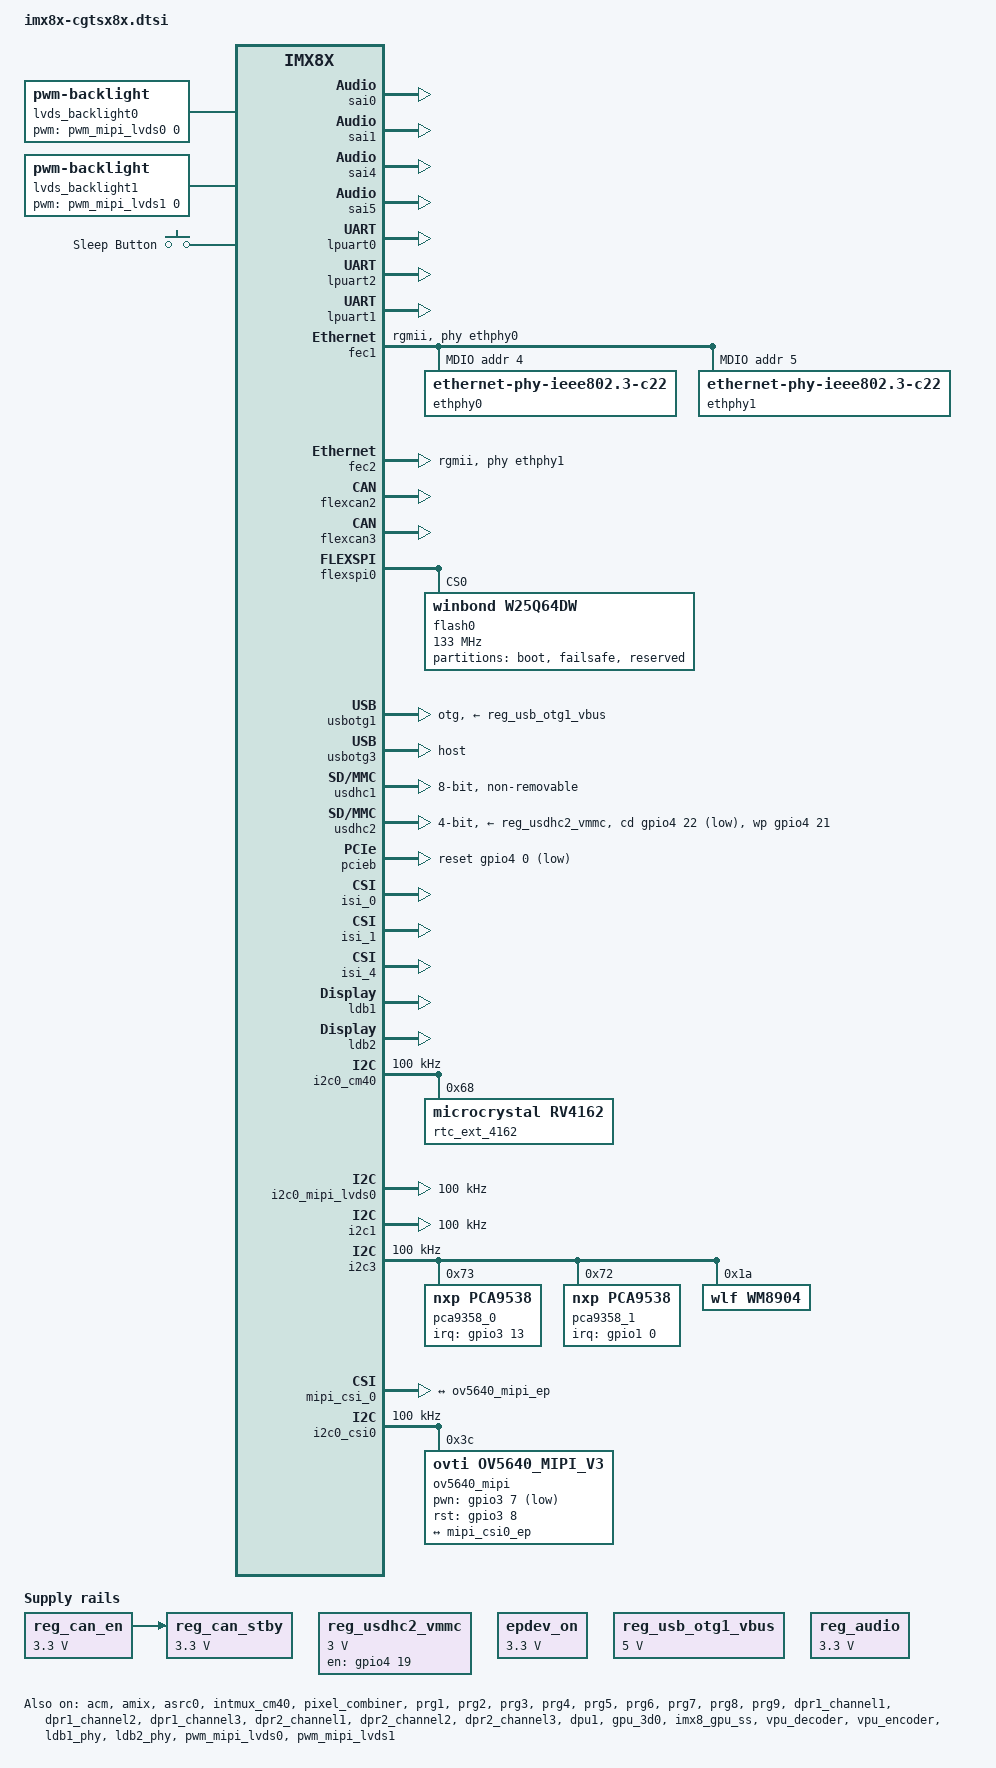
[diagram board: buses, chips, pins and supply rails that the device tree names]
/*
 * Copyright 2017-2018 NXP
 *
 * This program is free software; you can redistribute it and/or
 * modify it under the terms of the GNU General Public License
 * as published by the Free Software Foundation; either version 2
 * of the License, or (at your option) any later version.
 *
 * This program is distributed in the hope that it will be useful,
 * but WITHOUT ANY WARRANTY; without even the implied warranty of
 * MERCHANTABILITY or FITNESS FOR A PARTICULAR PURPOSE.  See the
 * GNU General Public License for more details.
 */

/ {
	chosen {
		bootargs = "console=ttyLP2,115200 earlycon=lpuart32,0x5a080000,115200";
		stdout-path = &lpuart2;
	};

	regulators {
		compatible = "simple-bus";
		#address-cells = <1>;
		#size-cells = <0>;

		reg_can_en: regulator-can-gen {
			compatible = "regulator-fixed";
			regulator-name = "can-en";
			regulator-min-microvolt = <3300000>;
			regulator-max-microvolt = <3300000>;
		//	gpio = <&pca6416 3 GPIO_ACTIVE_HIGH>;
			enable-active-high;
		};

		reg_can_stby: regulator-can-stby {
			compatible = "regulator-fixed";
			regulator-name = "can-stby";
			regulator-min-microvolt = <3300000>;
			regulator-max-microvolt = <3300000>;
		//	gpio = <&pca6416 5 GPIO_ACTIVE_HIGH>;
			enable-active-high;
			vin-supply = <&reg_can_en>;
		};

		reg_usdhc2_vmmc: usdhc2_vmmc {
			compatible = "regulator-fixed";
			regulator-name = "SD1_SPWR";
			regulator-min-microvolt = <3000000>;
			regulator-max-microvolt = <3000000>;
			gpio = <&gpio4 19 GPIO_ACTIVE_HIGH>;
			off-on-delay = <12000>;
			enable-active-high;
		};

		epdev_on: fixedregulator@100 {
			compatible = "regulator-fixed";
			regulator-min-microvolt = <3300000>;
			regulator-max-microvolt = <3300000>;
			regulator-name = "epdev_on";
		//	gpio = <&pca9557_a 0 GPIO_ACTIVE_HIGH>;
			enable-active-high;
		};

		reg_usb_otg1_vbus: regulator@0 {
			compatible = "regulator-fixed";
			reg = <0>;
			regulator-name = "usb_otg1_vbus";
			regulator-min-microvolt = <5000000>;
			regulator-max-microvolt = <5000000>;
		//	gpio = <&pca9557_b 2 GPIO_ACTIVE_HIGH>;
			enable-active-high;
		};

		reg_audio: fixedregulator@2 {
			compatible = "regulator-fixed";
			reg = <2>;
			regulator-name = "cs42888_supply";
			regulator-min-microvolt = <3300000>;
			regulator-max-microvolt = <3300000>;
			regulator-always-on;
		};
	};

	lvds_backlight0: lvds_backlight@0 {
		compatible = "pwm-backlight";
		pwms = <&pwm_mipi_lvds0 0 100000 0>;

		brightness-levels = < 0  1  2  3  4  5  6  7  8  9
				     10 11 12 13 14 15 16 17 18 19
				     20 21 22 23 24 25 26 27 28 29
				     30 31 32 33 34 35 36 37 38 39
				     40 41 42 43 44 45 46 47 48 49
				     50 51 52 53 54 55 56 57 58 59
				     60 61 62 63 64 65 66 67 68 69
				     70 71 72 73 74 75 76 77 78 79
				     80 81 82 83 84 85 86 87 88 89
				     90 91 92 93 94 95 96 97 98 99
				    100>;
		default-brightness-level = <80>;
	};

	lvds_backlight1: lvds_backlight@1 {
		compatible = "pwm-backlight";
		pwms = <&pwm_mipi_lvds1 0 100000 0>;

		brightness-levels = < 0  1  2  3  4  5  6  7  8  9
				     10 11 12 13 14 15 16 17 18 19
				     20 21 22 23 24 25 26 27 28 29
				     30 31 32 33 34 35 36 37 38 39
				     40 41 42 43 44 45 46 47 48 49
				     50 51 52 53 54 55 56 57 58 59
				     60 61 62 63 64 65 66 67 68 69
				     70 71 72 73 74 75 76 77 78 79
				     80 81 82 83 84 85 86 87 88 89
				     90 91 92 93 94 95 96 97 98 99
				    100>;
		default-brightness-level = <80>;
	};
/*
	beeper: pwm-beeper {
		compatible = "pwm-beeper";
		pwms = <&pwm3 0 100000 0>;
	};

	fan: pwm-fanctrl {
		compatible = "pwm-fan";
		pwms = <&pwm2 0 100000  0>;

		cooling-min-state = <0>;
		cooling-max-state = <2>;
		cooling-levels = <150 200 250>;
	};
*/
	sound0: sound@0 {
		compatible = "fsl,imx-audio-wm8904";
		model = "wm8904-audio";
		cpu-dai = <&sai0>;
		audio-codec = <&wm8904>;
		asrc-controller = <&asrc0>;
		codec-master;
		audio-routing =
			"Headphone Jack", "HPOUTL",
			"Headphone Jack", "HPOUTR",
			"Line Out Jack", "LINEOUTL",
			"Line Out Jack", "LINEOUTR",
			"IN1L", "Line In Jack",
			"IN1R", "Line In Jack",
			"IN2R", "Main MIC",
			"Playback", "CPU-Playback",
			"CPU-Capture", "Capture";
	};

	gpio-keys {
		compatible = "gpio-keys";
		pinctrl-names = "default";

		sleep {
			label = "Sleep Button";
			interrupt-parent = <&gpio1>;
			interrupts = <9 IRQ_TYPE_EDGE_FALLING>; //7 before
			linux,code = <KEY_SLEEP>;
		};
	};

};

&acm {
	status = "okay";
};

&amix {
	status = "okay";
};

&asrc0 {
	fsl,asrc-rate  = <48000>;
	status = "okay";
};

&sai0 {
	#sound-dai-cells = <0>;
	pinctrl-names = "default";
	pinctrl-0 = <&pinctrl_sai0>;
	status = "okay";

	assigned-clocks = <&clk IMX8QXP_AUD_PLL0_DIV>,
		  <&clk IMX8QXP_AUD_ACM_AUD_PLL_CLK0_DIV>,
		  <&clk IMX8QXP_AUD_ACM_AUD_REC_CLK0_DIV>,
		  <&clk IMX8QXP_AUD_MCLKOUT0>;
	assigned-clock-rates = <786432000>, <49152000>, <12288000>, <12288000>;
};

&sai1 {
	#sound-dai-cells = <0>;
	pinctrl-names = "default";
	pinctrl-0 = <&pinctrl_sai1>;
	status = "okay";

	assigned-clocks = <&clk IMX8QXP_AUD_PLL0_DIV>,
		  <&clk IMX8QXP_AUD_ACM_AUD_PLL_CLK0_DIV>,
		  <&clk IMX8QXP_AUD_ACM_AUD_REC_CLK0_DIV>,
		  <&clk IMX8QXP_AUD_MCLKOUT0>;
	assigned-clock-rates = <786432000>, <49152000>, <12288000>, <12288000>;
};

&sai4 {
	assigned-clocks = <&clk IMX8QXP_ACM_SAI4_MCLK_SEL>,
			<&clk IMX8QXP_AUD_PLL1_DIV>,
			<&clk IMX8QXP_AUD_ACM_AUD_PLL_CLK1_DIV>,
			<&clk IMX8QXP_AUD_ACM_AUD_REC_CLK1_DIV>,
			<&clk IMX8QXP_AUD_SAI_4_MCLK>;
	assigned-clock-parents = <&clk IMX8QXP_AUD_ACM_AUD_PLL_CLK1_CLK>;
	assigned-clock-rates = <0>, <786432000>, <98304000>, <12288000>, <98304000>;
	fsl,sai-asynchronous;
	fsl,txm-rxs;
	status = "okay";
};

&sai5 {
	assigned-clocks = <&clk IMX8QXP_ACM_SAI5_MCLK_SEL>,
			<&clk IMX8QXP_AUD_PLL1_DIV>,
			<&clk IMX8QXP_AUD_ACM_AUD_PLL_CLK1_DIV>,
			<&clk IMX8QXP_AUD_ACM_AUD_REC_CLK1_DIV>,
			<&clk IMX8QXP_AUD_SAI_5_MCLK>;
	assigned-clock-parents = <&clk IMX8QXP_AUD_ACM_AUD_PLL_CLK1_CLK>;
	assigned-clock-rates = <0>, <786432000>, <98304000>, <12288000>, <98304000>;
	fsl,sai-asynchronous;
	fsl,txm-rxs;
	status = "okay";
};

&iomuxc {
	pinctrl-names = "default";
	pinctrl-0 = <&pinctrl_hog>;

	imx8qxp-sx8x {
		pinctrl_hog: hoggrp {
			fsl,pins = <
				SC_P_SPI2_SDI_LSIO_GPIO1_IO02			0x00000021	/* GPIO 0 (450) */
				SC_P_MIPI_CSI0_GPIO0_01_LSIO_GPIO3_IO07	0x00000021	/* GPIO 1 (391) */
				SC_P_SPI2_SCK_LSIO_GPIO1_IO03			0x00000021	/* GPIO 2 (451)*/
				SC_P_MIPI_CSI0_GPIO0_00_LSIO_GPIO3_IO08	0x00000021	/* GPIO 3 (392) */
				SC_P_SPI2_SDO_LSIO_GPIO1_IO01		0x00000021	/* GPIO 4 (449) */
				SC_P_SPI0_SDI_LSIO_GPIO1_IO05		0x00000021	/* GPIO 5 (453) */
				SC_P_SPI0_CS0_LSIO_GPIO1_IO08		0x00000021	/* GPIO 6 (456) */
																/* GPIO 7 (210) */
																/* GPIO 8 (214) */
																/* GPIO 9 (215) */
																/* GPIO 10 (219) */
																/* GPIO 11 (220) */

				SC_P_ADC_IN4_LSIO_GPIO1_IO14		0x00000021  /* ESPI_ALERT0# */
				SC_P_ADC_IN5_LSIO_GPIO1_IO13		0x00000021  /* ESPI_ALERT1# */

				SC_P_ADC_IN0_LSIO_GPIO1_IO10		0x00000021	/* SMARC_BATLOW# */
				SC_P_ADC_IN1_LSIO_GPIO1_IO09		0x00000021	/* SMARC_SLEEP# */

				SC_P_MIPI_DSI1_GPIO0_01_LSIO_GPIO2_IO00				0x00000040	  /* INT ADV7533 or LVDS1_PPEN (416)*/

				SC_P_MIPI_DSI0_GPIO0_01_LSIO_GPIO1_IO28			0x00000021	/* LVDS0_PPEN (476) */
				SC_P_MCLK_IN0_LSIO_GPIO0_IO19			0x00000021	/* USB_2_OC# () */

				SC_P_MCLK_OUT0_ADMA_ACM_MCLK_OUT0	0xc6000040 /* MCLK for ext I2S codec */

				//--check SC_P_JTAG_TRST_B_SCU_WDOG0_WDOG_OUT
				SC_P_QSPI0A_DQS_LSIO_GPIO3_IO13		0x00000021 //(INT# PCA9538_0)
				SC_P_SPI2_CS0_LSIO_GPIO1_IO00		0x00000021 //(INT# PCA9538_1)

				SC_P_QSPI0A_SS1_B_LSIO_GPIO3_IO15	0x00000021 //(RST PCA9538) (399)

				SC_P_CSI_PCLK_LSIO_GPIO3_IO00		0x00000021 // GBE0_INT WoL
				SC_P_QSPI0B_DQS_LSIO_GPIO3_IO22		0x00000021 // GBE1_INT WoL
			>;
		};

	   pinctrl_csi0_lpi2c0: csi0lpi2c0grp {
			   fsl,pins = <
					   SC_P_MIPI_CSI0_I2C0_SCL_MIPI_CSI0_I2C0_SCL      0xc2000020
					   SC_P_MIPI_CSI0_I2C0_SDA_MIPI_CSI0_I2C0_SDA      0xc2000020
			   >;
	   };

		// Check if CTS and RTS are swapped
		/* Q7 edge connector*/
		/* SER 0 */
		pinctrl_lpuart0: lpuart0grp {
			fsl,pins = <
				SC_P_UART0_RX_ADMA_UART0_RX	0x06000020
				SC_P_UART0_TX_ADMA_UART0_TX	0x06000020
				SC_P_FLEXCAN0_RX_ADMA_UART0_RTS_B	0x06000020
				SC_P_FLEXCAN0_TX_ADMA_UART0_CTS_B	0x06000020
			>;
		};

		/*on module console 2*/
		pinctrl_lpuart2: lpuart2grp {
			fsl,pins = <
				SC_P_UART2_TX_ADMA_UART2_TX	0x06000020
				SC_P_UART2_RX_ADMA_UART2_RX	0x06000020
			>;
		};

		/* SER 1 */
		pinctrl_lpuart3: lpuart3grp {
			fsl,pins = <
				SC_P_ADC_IN3_M40_UART0_TX	0x06000020
				SC_P_ADC_IN2_M40_UART0_RX	0x06000020
			>;
		};

		/* SER 2*/
		pinctrl_lpuart4: lpuart4grp {
			fsl,pins = <
				SC_P_UART1_TX_ADMA_UART1_TX	0x06000020
				SC_P_UART1_RX_ADMA_UART1_RX	0x06000020
				SC_P_UART1_CTS_B_ADMA_UART1_CTS_B       0x06000020
				SC_P_UART1_RTS_B_ADMA_UART1_RTS_B       0x06000020
			>;
		};

		pinctrl_fec1: fec1grp {
			fsl,pins = <
				SC_P_ENET0_MDC_CONN_ENET0_MDC			0x06000020
				SC_P_ENET0_MDIO_CONN_ENET0_MDIO			0x06000020
				SC_P_ENET0_RGMII_TX_CTL_CONN_ENET0_RGMII_TX_CTL	0x00000061
				SC_P_ENET0_RGMII_TXC_CONN_ENET0_RGMII_TXC	0x00000061
				SC_P_ENET0_RGMII_TXD0_CONN_ENET0_RGMII_TXD0	0x00000061
				SC_P_ENET0_RGMII_TXD1_CONN_ENET0_RGMII_TXD1	0x00000061
				SC_P_ENET0_RGMII_TXD2_CONN_ENET0_RGMII_TXD2	0x00000061
				SC_P_ENET0_RGMII_TXD3_CONN_ENET0_RGMII_TXD3	0x00000061
				SC_P_ENET0_RGMII_RXC_CONN_ENET0_RGMII_RXC	0x00000061
				SC_P_ENET0_RGMII_RX_CTL_CONN_ENET0_RGMII_RX_CTL	0x00000061
				SC_P_ENET0_RGMII_RXD0_CONN_ENET0_RGMII_RXD0	0x00000061
				SC_P_ENET0_RGMII_RXD1_CONN_ENET0_RGMII_RXD1	0x00000061
				SC_P_ENET0_RGMII_RXD2_CONN_ENET0_RGMII_RXD2	0x00000061
				SC_P_ENET0_RGMII_RXD3_CONN_ENET0_RGMII_RXD3	0x00000061
			>;
		};

		pinctrl_fec2: fec2grp {
			fsl,pins = <
				SC_P_ESAI0_SCKR_CONN_ENET1_RGMII_TX_CTL		0x00000061
				SC_P_ESAI0_FSR_CONN_ENET1_RGMII_TXC		0x00000061
				SC_P_ESAI0_TX4_RX1_CONN_ENET1_RGMII_TXD0	0x00000061
				SC_P_ESAI0_TX5_RX0_CONN_ENET1_RGMII_TXD1	0x00000061
				SC_P_ESAI0_FST_CONN_ENET1_RGMII_TXD2		0x00000061
				SC_P_ESAI0_SCKT_CONN_ENET1_RGMII_TXD3		0x00000061
				SC_P_ESAI0_TX0_CONN_ENET1_RGMII_RXC		0x00000061
				SC_P_SPDIF0_TX_CONN_ENET1_RGMII_RX_CTL		0x00000061
				SC_P_SPDIF0_RX_CONN_ENET1_RGMII_RXD0		0x00000061
				SC_P_ESAI0_TX3_RX2_CONN_ENET1_RGMII_RXD1	0x00000061
				SC_P_ESAI0_TX2_RX3_CONN_ENET1_RGMII_RXD2	0x00000061
				SC_P_ESAI0_TX1_CONN_ENET1_RGMII_RXD3		0x00000061
			>;
		};

		pinctrl_flexcan2: flexcan2grp {
			fsl,pins = <
				SC_P_FLEXCAN1_TX_ADMA_FLEXCAN1_TX		0x21
				SC_P_FLEXCAN1_RX_ADMA_FLEXCAN1_RX		0x21
			>;
		};

		pinctrl_flexcan3: flexcan3grp {
			fsl,pins = <
				SC_P_FLEXCAN2_TX_ADMA_FLEXCAN2_TX		0x21
				SC_P_FLEXCAN2_RX_ADMA_FLEXCAN2_RX		0x21
			>;
		};

//gal tbd: qspi0B pins

		pinctrl_flexspi0: flexspi0grp {
			fsl,pins = <
				SC_P_QSPI0A_DATA0_LSIO_QSPI0A_DATA0	0x06000021
				SC_P_QSPI0A_DATA1_LSIO_QSPI0A_DATA1	0x06000021
				SC_P_QSPI0A_DATA2_LSIO_QSPI0A_DATA2	0x06000021
				SC_P_QSPI0A_DATA3_LSIO_QSPI0A_DATA3	0x06000021
				//--- SC_P_QSPI0A_DQS_LSIO_QSPI0A_DQS		0x06000021
				SC_P_QSPI0A_SS0_B_LSIO_QSPI0A_SS0_B	0x06000021
				//--- SC_P_QSPI0A_SS1_B_LSIO_QSPI0A_SS1_B	0x06000021
				SC_P_QSPI0A_SCLK_LSIO_QSPI0A_SCLK	0x06000021
				SC_P_QSPI0B_SCLK_LSIO_QSPI0B_SCLK	0x06000021
				SC_P_QSPI0B_DATA0_LSIO_QSPI0B_DATA0	0x06000021
				SC_P_QSPI0B_DATA1_LSIO_QSPI0B_DATA1	0x06000021
				SC_P_QSPI0B_DATA2_LSIO_QSPI0B_DATA2	0x06000021
				SC_P_QSPI0B_DATA3_LSIO_QSPI0B_DATA3	0x06000021
				SC_P_QSPI0B_SS0_B_LSIO_QSPI0B_SS0_B	0x06000021
				SC_P_QSPI0B_SS1_B_LSIO_QSPI0B_SS1_B	0x06000021
			>;
		};

		pinctrl_i2c0_mipi_lvds0: mipi_lvds0_i2c0_grp {
			fsl,pins = <
				SC_P_MIPI_DSI0_I2C0_SCL_MIPI_DSI0_I2C0_SCL 0xc600004c
				SC_P_MIPI_DSI0_I2C0_SDA_MIPI_DSI0_I2C0_SDA 0xc600004c
			>;
		};

		pinctrl_i2c0_mipi_lvds1: mipi_lvds1_i2c0_grp {
			fsl,pins = <
				SC_P_MIPI_DSI1_I2C0_SCL_MIPI_DSI1_I2C0_SCL 0xc6000020
				SC_P_MIPI_DSI1_I2C0_SDA_MIPI_DSI1_I2C0_SDA 0xc6000020
			>;
		};

		/* I2C_PM */
		pinctrl_lpi2c1: lpi1cgrp {
			fsl,pins = <
				SC_P_USB_SS3_TC1_ADMA_I2C1_SCL	0xc600004c
				SC_P_USB_SS3_TC3_ADMA_I2C1_SDA	0xc600004c
			>;
		};

		/* I2C_GPT */
		pinctrl_lpi2c3: lpi3cgrp {
			fsl,pins = <
				SC_P_CSI_EN_ADMA_I2C3_SCL	0xc600004c
				SC_P_CSI_RESET_ADMA_I2C3_SDA	0xc600004c
			>;
		};

		pinctrl_usdhc1: usdhc1grp {
			fsl,pins = <
				SC_P_EMMC0_CLK_CONN_EMMC0_CLK		0x06000041
				SC_P_EMMC0_CMD_CONN_EMMC0_CMD		0x00000021
				SC_P_EMMC0_DATA0_CONN_EMMC0_DATA0	0x00000021
				SC_P_EMMC0_DATA1_CONN_EMMC0_DATA1	0x00000021
				SC_P_EMMC0_DATA2_CONN_EMMC0_DATA2	0x00000021
				SC_P_EMMC0_DATA3_CONN_EMMC0_DATA3	0x00000021
				SC_P_EMMC0_DATA4_CONN_EMMC0_DATA4	0x00000021
				SC_P_EMMC0_DATA5_CONN_EMMC0_DATA5	0x00000021
				SC_P_EMMC0_DATA6_CONN_EMMC0_DATA6	0x00000021
				SC_P_EMMC0_DATA7_CONN_EMMC0_DATA7	0x00000021
				SC_P_EMMC0_STROBE_CONN_EMMC0_STROBE	0x00000041
			>;
		};

		pinctrl_usdhc1_100mhz: usdhc1grp100mhz {
			fsl,pins = <
				SC_P_EMMC0_CLK_CONN_EMMC0_CLK		0x06000040
				SC_P_EMMC0_CMD_CONN_EMMC0_CMD		0x00000020
				SC_P_EMMC0_DATA0_CONN_EMMC0_DATA0	0x00000020
				SC_P_EMMC0_DATA1_CONN_EMMC0_DATA1	0x00000020
				SC_P_EMMC0_DATA2_CONN_EMMC0_DATA2	0x00000020
				SC_P_EMMC0_DATA3_CONN_EMMC0_DATA3	0x00000020
				SC_P_EMMC0_DATA4_CONN_EMMC0_DATA4	0x00000020
				SC_P_EMMC0_DATA5_CONN_EMMC0_DATA5	0x00000020
				SC_P_EMMC0_DATA6_CONN_EMMC0_DATA6	0x00000020
				SC_P_EMMC0_DATA7_CONN_EMMC0_DATA7	0x00000020
				SC_P_EMMC0_STROBE_CONN_EMMC0_STROBE	0x00000040
			>;
		};

		pinctrl_usdhc1_200mhz: usdhc1grp200mhz {
			fsl,pins = <
				SC_P_EMMC0_CLK_CONN_EMMC0_CLK		0x06000040
				SC_P_EMMC0_CMD_CONN_EMMC0_CMD		0x00000020
				SC_P_EMMC0_DATA0_CONN_EMMC0_DATA0	0x00000020
				SC_P_EMMC0_DATA1_CONN_EMMC0_DATA1	0x00000020
				SC_P_EMMC0_DATA2_CONN_EMMC0_DATA2	0x00000020
				SC_P_EMMC0_DATA3_CONN_EMMC0_DATA3	0x00000020
				SC_P_EMMC0_DATA4_CONN_EMMC0_DATA4	0x00000020
				SC_P_EMMC0_DATA5_CONN_EMMC0_DATA5	0x00000020
				SC_P_EMMC0_DATA6_CONN_EMMC0_DATA6	0x00000020
				SC_P_EMMC0_DATA7_CONN_EMMC0_DATA7	0x00000020
				SC_P_EMMC0_STROBE_CONN_EMMC0_STROBE	0x00000040
			>;
		};

		pinctrl_usdhc2_gpio: usdhc2gpiogrp {
			fsl,pins = <
				SC_P_USDHC1_RESET_B_LSIO_GPIO4_IO19	0x00000021
				SC_P_USDHC1_WP_LSIO_GPIO4_IO21		0x00000021
				SC_P_USDHC1_CD_B_LSIO_GPIO4_IO22	0x00000021
			>;
		};

		pinctrl_usdhc2: usdhc2grp {
			fsl,pins = <
				SC_P_USDHC1_CLK_CONN_USDHC1_CLK		0x06000041
				SC_P_USDHC1_CMD_CONN_USDHC1_CMD		0x00000021
				SC_P_USDHC1_DATA0_CONN_USDHC1_DATA0	0x00000021
				SC_P_USDHC1_DATA1_CONN_USDHC1_DATA1	0x00000021
				SC_P_USDHC1_DATA2_CONN_USDHC1_DATA2	0x00000021
				SC_P_USDHC1_DATA3_CONN_USDHC1_DATA3	0x00000021
				SC_P_USDHC1_VSELECT_CONN_USDHC1_VSELECT	0x00000021
			>;
		};

		pinctrl_usdhc2_100mhz: usdhc2grp100mhz {
			fsl,pins = <
				SC_P_USDHC1_CLK_CONN_USDHC1_CLK		0x06000040
				SC_P_USDHC1_CMD_CONN_USDHC1_CMD		0x00000020
				SC_P_USDHC1_DATA0_CONN_USDHC1_DATA0	0x00000020
				SC_P_USDHC1_DATA1_CONN_USDHC1_DATA1	0x00000020
				SC_P_USDHC1_DATA2_CONN_USDHC1_DATA2	0x00000020
				SC_P_USDHC1_DATA3_CONN_USDHC1_DATA3	0x00000020
				SC_P_USDHC1_VSELECT_CONN_USDHC1_VSELECT	0x00000020
			>;
		};

		pinctrl_usdhc2_200mhz: usdhc2grp200mhz {
			fsl,pins = <
				SC_P_USDHC1_CLK_CONN_USDHC1_CLK		0x06000040
				SC_P_USDHC1_CMD_CONN_USDHC1_CMD		0x00000020
				SC_P_USDHC1_DATA0_CONN_USDHC1_DATA0	0x00000020
				SC_P_USDHC1_DATA1_CONN_USDHC1_DATA1	0x00000020
				SC_P_USDHC1_DATA2_CONN_USDHC1_DATA2	0x00000020
				SC_P_USDHC1_DATA3_CONN_USDHC1_DATA3	0x00000020
				SC_P_USDHC1_VSELECT_CONN_USDHC1_VSELECT	0x00000020
			>;
		};

		pinctrl_pcieb: pcieagrp{
			fsl,pins = <
				SC_P_PCIE_CTRL0_PERST_B_LSIO_GPIO4_IO00		0x06000021
				SC_P_PCIE_CTRL0_CLKREQ_B_LSIO_GPIO4_IO01	0x06000021
				SC_P_PCIE_CTRL0_WAKE_B_LSIO_GPIO4_IO02		0x04000021
			>;
		};

		pinctrl_mipi_csi0: mipicsi0grp{
			fsl,pins = <
				SC_P_MIPI_CSI0_MCLK_OUT_MIPI_CSI0_ACM_MCLK_OUT	0xC0000041
			>;
		};

		pinctrl_lpi2c0: i2c0grp{
			fsl,pins = <
				SC_P_SPI0_SCK_M40_I2C0_SCL			0xc600004c
				SC_P_SPI0_SDO_M40_I2C0_SDA			0xc600004c
			>;
		};

		pinctrl_pwm_mipi_lvds0: mipi0pwm0grp{
			fsl,pins = <
				SC_P_MIPI_DSI0_GPIO0_00_MIPI_DSI0_PWM0_OUT	0x00000020
			>;
		};

		pinctrl_pwm_mipi_lvds1: mipi1pwm0grp{
                        fsl,pins = <
                                SC_P_MIPI_DSI1_GPIO0_00_MIPI_DSI1_PWM0_OUT      0x00000020
                        >;
                };

		pinctrl_usbotg1: usbotg1 {
				fsl,pins = <
						SC_P_USB_SS3_TC0_CONN_USB_OTG1_PWR		0x00000021
						SC_P_USB_SS3_TC2_CONN_USB_OTG1_OC		0x00000021
				>;
		};

		pinctrl_sai0: sai0grp {
			fsl,pins = <
				SC_P_SAI0_RXD_ADMA_SAI0_RXD		0x06000040
				SC_P_SAI0_TXD_ADMA_SAI0_TXD		0x06000040
				SC_P_SAI0_TXC_ADMA_SAI0_TXC		0x06000040
				SC_P_SAI0_TXFS_ADMA_SAI0_TXFS	0x06000040
			>;
		};

		pinctrl_sai1: sai1grp {
			fsl,pins = <
				SC_P_SAI1_RXD_ADMA_SAI1_RXD		0x06000040
				SC_P_SAI1_RXC_ADMA_SAI1_TXC		0x06000040
				SC_P_SAI1_RXFS_ADMA_SAI1_TXFS	0x06000040
				SC_P_SPI0_CS1_ADMA_SAI1_TXD		0x06000040
			>;
		};
	};
};

&pd_dma_lpuart0 {
	debug_console;
};

/* ttyLP0: SER0*/
&lpuart0 {
	pinctrl-names = "default";
	pinctrl-0 = <&pinctrl_lpuart0>;
	status = "okay";
};

/* ttyLP2: Serial console */
&lpuart2 {
	pinctrl-names = "default";
	pinctrl-0 = <&pinctrl_lpuart2>;
	status = "okay";
};

&lpuart3 {
	pinctrl-names = "default";
	pinctrl-0 = <&pinctrl_lpuart3>;
	status = "disabled";
};

/* ttyLP1: SER2*/
&lpuart1 {
	pinctrl-names = "default";
	pinctrl-0 = <&pinctrl_lpuart4>;
	status = "okay";
};

&fec1 {
	pinctrl-names = "default";
	pinctrl-0 = <&pinctrl_fec1>;
	phy-mode = "rgmii";
	phy-handle = <&ethphy0>;
	fsl,magic-packet;
	fsl,rgmii_txc_dly;
	fsl,rgmii_rxc_dly;
//	phy-reset-gpios  = <&pca9358_0 0 GPIO_ACTIVE_LOW>; // gpio216
	status = "okay";

	mdio {
		#address-cells = <1>;
		#size-cells = <0>;

		ethphy0: ethernet-phy@0 {
			compatible = "ethernet-phy-ieee802.3-c22";
			reg = <4>;
			at803x,eee-disabled;
			at803x,vddio-1p8v;
		};

		ethphy1: ethernet-phy@1 {
			compatible = "ethernet-phy-ieee802.3-c22";
			reg = <5>;
			at803x,eee-disabled;
			at803x,vddio-1p8v;
		};
	};
};

&fec2 {
	pinctrl-names = "default";
	pinctrl-0 = <&pinctrl_fec2>;
	phy-mode = "rgmii";
	phy-handle = <&ethphy1>;
	fsl,magic-packet;
	fsl,rgmii_txc_dly;
	fsl,rgmii_rxc_dly;
//	phy-reset-gpios  = <&pca9358_0 1 GPIO_ACTIVE_LOW>; // gpio217
	status = "okay";
};

&flexcan2 {
	pinctrl-names = "default";
	pinctrl-0 = <&pinctrl_flexcan2>;
	status = "okay";
	/* To disable CAN FD mode support, uncomment following line */
	//disable-fd-mode;
};

&flexcan3 {
	pinctrl-names = "default";
	pinctrl-0 = <&pinctrl_flexcan3>;
	status = "okay";
	/* To disable CAN FD mode support, uncomment following line */
	//disable-fd-mode;
};

&flexspi0 {
	pinctrl-names = "default";
	pinctrl-0 = <&pinctrl_flexspi0>;
	status = "okay";

	flash0: w25q64dw@0 {
        #address-cells = <1>;
        #size-cells = <1>;
        compatible = "winbond,w25q64dw", "jedec,spi-nor";
        spi-max-frequency = <133000000>;
        reg = <0>;
		spi-nor,quad-read;

		partition@0 {
			label = "boot";
			reg = <0x0000000 0x400000>;
		};

		partition@400000 {
			label = "failsafe";
			reg = <0x400000 0x3e0000>;
		};

		partition@7e0000 {
			label = "reserved";
			reg = <0x7e0000 0x20000>;
			read-only;
		};
    };
};

&pd_cm40_intmux {
	early_power_on;
};

&intmux_cm40 {
	status = "okay";
};

&usbotg1 {
	dr_mode = "otg";
	pinctrl-names = "default";
	pinctrl-0 = <&pinctrl_usbotg1>;
	vbus-supply = <&reg_usb_otg1_vbus>;
	srp-disable;
	hnp-disable;
	adp-disable;
	power-polarity-active-high;
	disable-over-current;
	status = "okay";
};

&usbotg3 {
	dr_mode = "host";
	status = "okay";
};

&usdhc1 {
	pinctrl-names = "default", "state_100mhz", "state_200mhz";
	pinctrl-0 = <&pinctrl_usdhc1>;
	pinctrl-1 = <&pinctrl_usdhc1_100mhz>;
	pinctrl-2 = <&pinctrl_usdhc1_200mhz>;
	bus-width = <8>;
	non-removable;
	status = "okay";
};

&usdhc2 {
	pinctrl-names = "default", "state_100mhz", "state_200mhz";
	pinctrl-0 = <&pinctrl_usdhc2>, <&pinctrl_usdhc2_gpio>;
	pinctrl-1 = <&pinctrl_usdhc2_100mhz>, <&pinctrl_usdhc2_gpio>;
	pinctrl-2 = <&pinctrl_usdhc2_200mhz>, <&pinctrl_usdhc2_gpio>;
	bus-width = <4>;
	cd-gpios = <&gpio4 22 GPIO_ACTIVE_LOW>;
	wp-gpios = <&gpio4 21 GPIO_ACTIVE_HIGH>;
	vmmc-supply = <&reg_usdhc2_vmmc>;
	no-1-8-v;
	status = "okay";
};

&pcieb{
	ext_osc = <1>;
	pinctrl-names = "default";
	pinctrl-0 = <&pinctrl_pcieb>;
	clkreq-gpio = <&gpio4 1 GPIO_ACTIVE_LOW>;
	reset-gpio = <&gpio4 0 GPIO_ACTIVE_LOW>;
	epdev_on-supply = <&epdev_on>;
	status = "okay";
};

&pixel_combiner {
	status = "okay";
};
&prg1 {
	status = "okay";
};

&prg2 {
	status = "okay";
};

&prg3 {
	status = "okay";
};

&prg4 {
	status = "okay";
};

&prg5 {
	status = "okay";
};

&prg6 {
	status = "okay";
};

&prg7 {
	status = "okay";
};

&prg8 {
	status = "okay";
};

&prg9 {
	status = "okay";
};

&dpr1_channel1 {
	status = "okay";
};

&dpr1_channel2 {
	status = "okay";
};

&dpr1_channel3 {
	status = "okay";
};

&dpr2_channel1 {
	status = "okay";
};

&dpr2_channel2 {
	status = "okay";
};

&dpr2_channel3 {
	status = "okay";
};

&dpu1 {
	status = "okay";
};

&gpu_3d0 {
	status = "okay";
};

&imx8_gpu_ss {
	status = "okay";
};

&isi_0 {
	status = "okay";
};

&isi_1 {
	status = "okay";
};

&isi_2 {
	status = "disabled";
};

&isi_3 {
	status = "disabled";
};

&isi_4 {
	status = "okay";
};

&vpu {
	status = "disabled";
};

&vpu_decoder {
	core_type = <1>;
	status = "okay";
};

&vpu_encoder {
	status = "okay";
};


&ldb1_phy {
	status = "okay";
};

&ldb1 {
	status = "okay";

	lvds-channel@0 {
		fsl,data-mapping = "spwg";
		fsl,data-width = <24>;
		status = "okay";

		port@0 {
			reg = <0>;

			lvds0_out: endpoint {
				remote-endpoint = <&dpu_disp0_lvds0_ch0>;
			};
		};
	};
};

&ldb2_phy {
	status = "okay";
};

&ldb2 {
	status = "okay";

	lvds-channel@0 {
		fsl,data-mapping = "spwg";
		fsl,data-width = <24>;
		status = "okay";

		port@1 {
			reg = <0>;

			lvds1_out: endpoint {
				remote-endpoint = <&dpu_disp1_lvds1_ch0>;
			};
		};
	};
};

&tsens {
	tsens-num = <3>;
};

&thermal_zones {
	pmic-thermal0 {
		polling-delay-passive = <250>;
		polling-delay = <2000>;
		thermal-sensors = <&tsens 2>;
		trips {
			pmic_alert0: trip0 {
				temperature = <110000>;
				hysteresis = <2000>;
				type = "passive";
			};
			pmic_crit0: trip1 {
				temperature = <125000>;
				hysteresis = <2000>;
				type = "critical";
			};
		};
		cooling-maps {
			map0 {
				trip = <&pmic_alert0>;
				cooling-device =
				<&A35_0 THERMAL_NO_LIMIT THERMAL_NO_LIMIT>;
			};
		};
	};
};

&i2c0_cm40 {
	#address-cells = <1>;
	#size-cells = <0>;
	pinctrl-names = "default";
	pinctrl-0 = <&pinctrl_lpi2c0>;
	clock-frequency = <100000>;
	status = "okay";

	rtc_ext_4162: rv4162@D0 {
		compatible = "microcrystal,rv4162";
		reg = <0x68>;
	};
	/*
	rtc_ext_8803: rv8803@64 {
		compatible = "microcrystal,rv8803";
		reg = <0x64>;
	};
	*/
};

&i2c0_mipi_lvds0 {
	#address-cells = <1>;
	#size-cells = <0>;
	pinctrl-names = "default";
	pinctrl-0 = <&pinctrl_i2c0_mipi_lvds0>;
	clock-frequency = <100000>;
	status = "okay";

};


&i2c1 {
	#address-cells = <1>;
	#size-cells = <0>;
	pinctrl-names = "default";
	pinctrl-0 = <&pinctrl_lpi2c1>;
	clock-frequency = <100000>;
	status = "okay";

};

&i2c3 {
	#address-cells = <1>;
	#size-cells = <0>;
	pinctrl-names = "default";
	pinctrl-0 = <&pinctrl_lpi2c3>;
	clock-frequency = <100000>;
	status = "okay";

	pca9358_0: pca9358_0@73 {
		compatible = "nxp,pca9538";
		reg = <0x73>;
		status = "okay";
		interrupt-parent = <&gpio3>;
		interrupts = <13 IRQ_TYPE_LEVEL_LOW>;
		gpio-controller;
		#gpio-cells = <2>;
		gpio-line-names = "GBE0_RST#", "GBE1_RST#", "USB_HUB_RST#",
				"GPIO10", "GPIO11", "BT_RF_DISABLE#",
				"WIFI_RF_DISABLE#", "WIFI_POWERDOWN#";

		pca9358_0_0 {
				gpio-hog;
				gpios = <0 0>;
				output-high;
				line-name = "GBE0_RST#";
		};

		pca9358_0_1 {
				gpio-hog;
				gpios = <1 0>;
				output-high;
				line-name = "GBE1_RST#";
		};

		pca9358_0_2 {
				gpio-hog;
				gpios = <2 0>;
				output-high;
				line-name = "USB_HUB_RST#";
		};

		pca9358_0_5 {
				gpio-hog;
				gpios = <5 0>;
				output-low;
				line-name = "BT_RF_DISABLE#";
		};

		pca9358_0_6 {
				gpio-hog;
				gpios = <6 0>;
				output-low;
				line-name = "WIFI_RF_DISABLE#";
		};

		pca9358_0_7 {
				gpio-hog;
				gpios = <7 0>;
				output-high;
				line-name = "WIFI_POWERDOWN#";
		};
	};

	pca9358_1: pca9358_1@73 {
		compatible = "nxp,pca9538";
		reg = <0x72>;
		status = "okay";
		interrupt-parent = <&gpio1>;
		interrupts = <0 IRQ_TYPE_LEVEL_LOW>;
		gpio-controller;
		#gpio-cells = <2>;
		gpio-line-names = "LCD0_GPIO", "LCD0_GPIO", "GPIO7", "ESPI_RESET#",
				"SMARC_CHARGING#", "SMARC_CHARGER_PRSNT#",
				"GPIO8", "GPIO9";

		pca9358_1_4 {
				gpio-hog;
				gpios = <4 0>;
				input;
				line-name = "SMARC_CHARGING#";
		};

		pca9358_1_5 {
				gpio-hog;
				gpios = <5 0>;
				input;
				line-name = "SMARC_CHARGER_PRSNT#";
		};
	};

	wm8904: wm8904@1a {
		compatible = "wlf,wm8904";
		reg = <0x1a>;
		clocks = <&clk IMX8QXP_AUD_MCLKOUT0>;
		clock-names = "mclk";
		power-domains = <&pd_mclk_out0>;
   };
};

&pwm_mipi_lvds0 {
	pinctrl-names = "default";
	pinctrl-0 = <&pinctrl_pwm_mipi_lvds0>;
	status = "okay";
};

&pwm_mipi_lvds1 {
        pinctrl-names = "default";
        pinctrl-0 = <&pinctrl_pwm_mipi_lvds1>;
        status = "okay";
};

&mipi_csi_0 {
	#address-cells = <1>;
	#size-cells = <0>;
	/delete-property/virtual-channel;
	status = "okay";

	port@0 {
		reg = <0>;
		mipi_csi0_ep: endpoint {
			remote-endpoint = <&ov5640_mipi_ep>;
			data-lanes = <1 2>;
		};
	};
};

&i2c0_csi0 {
	#address-cells = <1>;
	#size-cells = <0>;
	pinctrl-names = "default";
	pinctrl-0 = <&pinctrl_csi0_lpi2c0>;
	clock-frequency = <100000>;
	status = "okay";

	ov5640_mipi: ov5640_mipi@3c {
		compatible = "ovti,ov5640_mipi_v3";
		reg = <0x3c>;
		pinctrl-names = "default";
		pinctrl-0 = <&pinctrl_mipi_csi0>;
		clocks = <&clk IMX8QXP_CLK_DUMMY>;
		clock-names = "csi_mclk";
		csi_id = <0>;
		pwn-gpios = <&gpio3 7 GPIO_ACTIVE_LOW>;
		rst-gpios = <&gpio3 8 GPIO_ACTIVE_HIGH>;
		mclk = <24000000>;
		mclk_source = <0>;
		mipi_csi;
		status = "okay";
		port {
			ov5640_mipi_ep: endpoint {
				remote-endpoint = <&mipi_csi0_ep>;
			};
		};
	};
};
